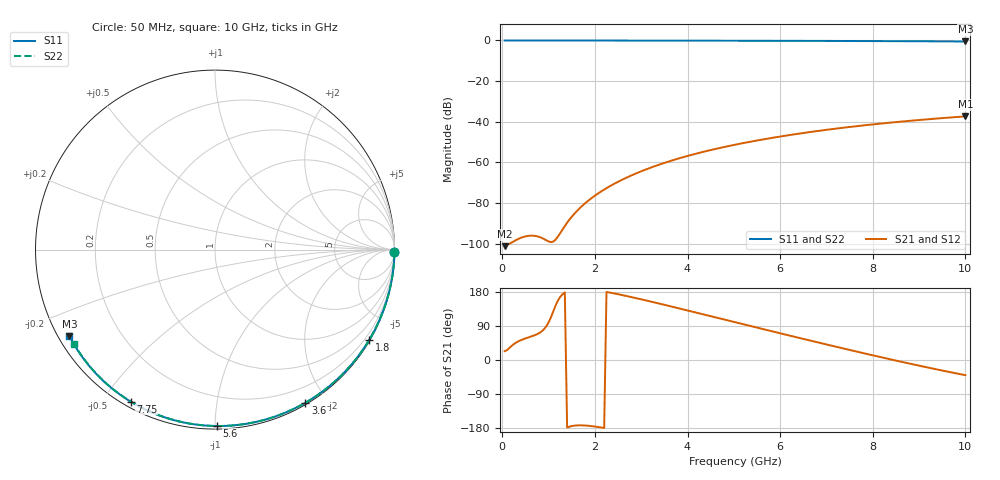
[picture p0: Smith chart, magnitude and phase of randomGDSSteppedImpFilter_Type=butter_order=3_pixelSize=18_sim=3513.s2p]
! freq	dB(S11)	phase(S11)	dB(S12)	phase(S12)
!  dB(S21)	phase(S21)	dB(S22)	phase(S22)
!S-par simulation data
#  GHz  S  DB  R 50
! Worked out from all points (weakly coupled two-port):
!   200 points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, 50 MHz to 10 GHz, reference 50 ohm
!   highest |S21| = -37.32 dB at 10 GHz (marker M1); lowest = -101.2 dB at 50 MHz (marker M2)
!   lowest |S11| = -0.5 dB at 10 GHz (marker M3), VSWR 34.13, Z = 1.58 - j13.7 ohm
!   |S11| at or under -10 dB: nowhere
!   |S22| runs from -0.5 to 0.0 dB; largest |S21 - S12| = 0
!   S11 on the Smith chart (normalised r, x): 50 MHz: open; 1.8 GHz: 0.03, -3.67; 3.6 GHz: 0.02, -1.75; 5.6 GHz: 0.02, -1.01; 7.75 GHz: 0.02, -0.59; 10 GHz: 0.03, -0.27
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0.05  -0.00 -0.9  -101.16 23.5  -101.16 23.5  -0.00 -0.8
0.45  -0.01 -7.7  -96.66 54.8  -96.66 54.8  -0.00 -7.6
0.9  -0.02 -15.4  -97.62 81.2  -97.62 81.2  -0.02 -15.2
1.75  -0.04 -29.7  -80.81 -172.6  -80.81 -172.6  -0.04 -29.3
1.8  -0.04 -30.5  -79.82 -173.0  -79.82 -173.0  -0.04 -30.1
1.95  -0.04 -33.0  -77.13 -174.8  -77.13 -174.8  -0.04 -32.5
2.1  -0.05 -35.4  -74.76 -177.4  -74.76 -177.4  -0.04 -35.0
2.3  -0.05 -38.7  -71.96 178.4  -71.96 178.4  -0.05 -38.2
2.5  -0.05 -42.0  -69.49 173.6  -69.49 173.6  -0.05 -41.4
2.9  -0.06 -48.4  -65.27 163.0  -65.27 163.0  -0.06 -47.8
3.4  -0.07 -56.3  -60.97 148.6  -60.97 148.6  -0.07 -55.6
3.6  -0.08 -59.5  -59.47 142.7  -59.47 142.7  -0.08 -58.7
4.3  -0.10 -70.2  -55.00 121.7  -55.00 121.7  -0.10 -69.2
5.05  -0.13 -81.4  -51.15 99.0  -51.15 99.0  -0.12 -80.2
5.6  -0.15 -89.3  -48.78 82.4  -48.78 82.4  -0.15 -88.0
6.15  -0.17 -97.1  -46.70 66.0  -46.70 66.0  -0.17 -95.7
6.7  -0.20 -104.8  -44.86 49.8  -44.86 49.8  -0.20 -103.2
7.2  -0.24 -111.6  -43.36 35.2  -43.36 35.2  -0.23 -109.9
7.75  -0.28 -119.1  -41.89 19.4  -41.89 19.4  -0.27 -117.1
8.35  -0.33 -127.1  -40.47 2.6  -40.47 2.6  -0.32 -124.9
9.2  -0.41 -138.5  -38.73 -20.2  -38.73 -20.2  -0.40 -135.9
10  -0.51 -149.3  -37.32 -40.1  -37.32 -40.1  -0.50 -146.3
